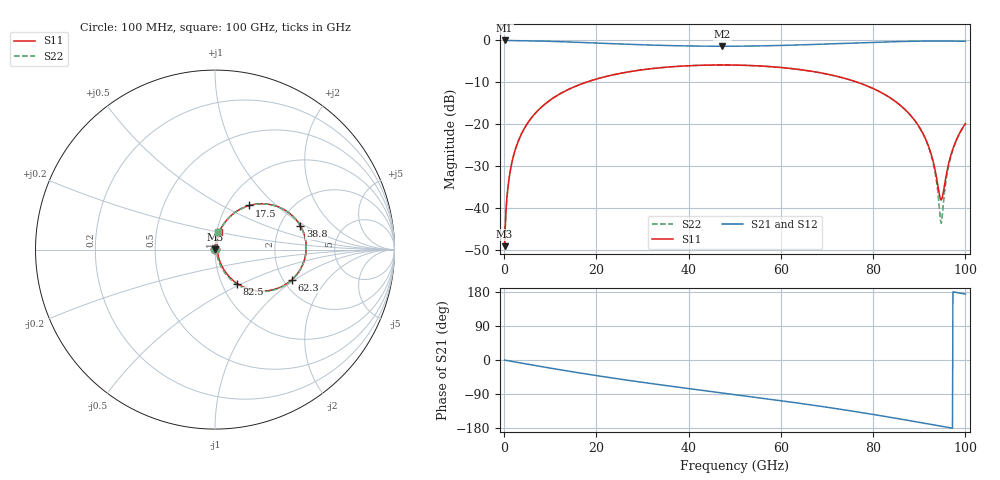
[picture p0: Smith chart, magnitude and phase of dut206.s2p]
! Touchstone file exported from HFSS 2026.1.0
!  File:  C:/ffzhzh/LocalFiles/Ansys_Project_Files/temp_train_RDL_206_1783500765_9504.aedt
!  Generated:  04:54:09 PM Jul  8, 2026
!  Design:  RDL
!  Project:  temp_train_RDL_206_1783500765_9504
! Variables:
!  h_bsmrdl = 2um
!  h_ox = 20um
!  h_rdl = 5um
!  h_sub = 80um
!  h_tmrdl = 3.1um
!  h_tsv = 80um
!  h_via = 3um
!  l_bsmrdl = 300um
!  l_sub = 1003.25um
!  l_tmrdl = 603.25um
!  m_sub = 200um
!  pitch = 56.52um
!  r_tsv = 6um
!  s_tmrdl = 10um
!  w_bsmrdl = 18um
!  w_sub = 500um
!  w_tmrdl = 29.79um
!  x_tsv_center1 = 618.145um
!  x_tsv_center2 = 936.145um
!  x_tsv_center3 = 1569.185um
!  x_tsv_center4 = 1887.185um
!  x_tsv_center5 = 2520.225um
!  x_tsv_center6 = 2838.225um
# GHz S MA R 50.000000
! Terminal data exported
! Port[1] = TM_RDL1_1_T1
! Port[2] = TM_RDL1_1_T2
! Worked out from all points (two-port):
!   1000 points, 100 MHz to 100 GHz, reference 50 ohm
!   highest |S21| = -0.02 dB at 100 MHz (marker M1); lowest = -1.4 dB at 47.3 GHz (marker M2)
!   |S21| within 3 dB of the highest: start of sweep to end of sweep
!   lowest |S11| = -49.2 dB at 100 MHz (marker M3), VSWR 1.01, Z = 50.3 + j0.232 ohm
!   |S11| at or under -10 dB: start of sweep to 17.81 GHz; 76.56 GHz to end of sweep
!   |S22| runs from -49.2 to -5.9 dB; largest |S21 - S12| = 1.8e-14
!   S11 on the Smith chart (normalised r, x): 100 MHz: 1.01, +0.00; 17.5 GHz: 1.27, +0.69; 38.8 GHz: 2.58, +0.91; 62.3 GHz: 2.23, -0.94; 82.5 GHz: 1.18, -0.47; 100 GHz: 1.03, +0.20
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0.1  0.003483 41.6  0.9974 -0.2  0.9974 -0.2  0.003483 41.6
! Gamma 0 0 0 0
! Port Impedance 50 0 50 0
0.8  0.01712 76.8  0.9965 -1.8  0.9965 -1.8  0.01712 76.8
1.4  0.02914 79.8  0.996 -3.1  0.996 -3.1  0.02914 79.8
4  0.08128 78.1  0.9922 -8.7  0.9922 -8.7  0.08128 78.1
9  0.176 68.5  0.9777 -19.4  0.9777 -19.4  0.176 68.5
16.8  0.3021 53.3  0.9442 -35.0  0.9442 -35.0  0.3021 53.3
17.5  0.312 52.0  0.9409 -36.4  0.9409 -36.4  0.312 51.9
33.4  0.4683 24.3  0.8733 -64.7  0.8733 -64.7  0.4683 24.2
38.8  0.4937 15.6  0.8593 -73.5  0.8593 -73.5  0.4937 15.5
47.3  0.5085 2.4  0.8508 -87.0  0.8508 -87.0  0.5085 2.2
50.1  0.5068 -1.9  0.8517 -91.4  0.8517 -91.4  0.5068 -2.1
62.3  0.4603 -21.3  0.8765 -111.2  0.8765 -111.2  0.4603 -21.6
66.7  0.4269 -28.6  0.8924 -118.8  0.8924 -118.8  0.4269 -29.0
82.5  0.226 -56.8  0.9587 -148.8  0.9587 -148.8  0.2259 -57.9
83.4  0.211 -58.4  0.9618 -150.6  0.9618 -150.6  0.2108 -59.6
88  0.1294 -65.7  0.9747 -160.2  0.9747 -160.2  0.1291 -68.0
91.2  0.06956 -67.7  0.9799 -167.0  0.9799 -167.0  0.06888 -72.3
93.1  0.03418 -60.7  0.9813 -171.1  0.9813 -171.1  0.03262 -70.2
94.7  0.01244 0.7  0.9814 -174.6  0.9814 -174.6  0.006597 -3.6
95.1  0.0142 32.8  0.9813 -175.4  0.9813 -175.4  0.009416 50.1
96.9  0.0435 73.3  0.9801 -179.3  0.9801 -179.3  0.04209 81.2
100  0.1014 76.3  0.9753 174.1  0.9753 174.1  0.1007 79.9
